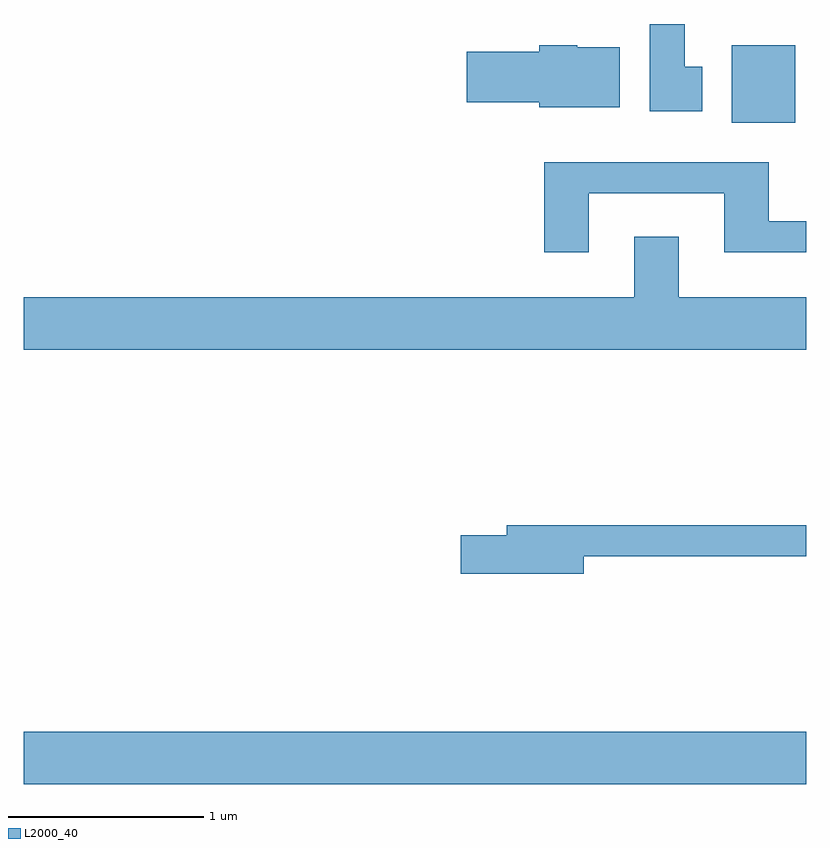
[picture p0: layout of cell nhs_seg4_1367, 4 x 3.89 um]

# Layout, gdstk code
import gdstk
lib = gdstk.Library(unit=1e-6, precision=1e-09)
def R(c, l, rs):  # rectangles x0, y0, x1, y1
    for r in rs: c.add(gdstk.rectangle(r[:2], r[2:], *l))
def P(c, l, *ps):  # polygons
    for p in ps: c.add(gdstk.Polygon(p, *l))
L2000_40 = (2000, 40)

nhs_seg4_1367 = lib.new_cell('nhs_seg4_1367')
R(nhs_seg4_1367, L2000_40, [(225.611,1268.096,229.611,1268.364), (229.231,1271.476,229.554,1271.874)])
P(nhs_seg4_1367, L2000_40, [(229.079,1271.764),(228.989,1271.764),(228.989,1271.982),(228.811,1271.982),(228.811,1271.536),(229.079,1271.536)],
  [(228.659,1271.864),(228.44,1271.864),(228.44,1271.874),(228.246,1271.874),(228.246,1271.839),(227.876,1271.839),(227.876,1271.581),(228.246,1271.581),(228.246,1271.556),(228.659,1271.556)],
  [(228.499,1271.116),(229.191,1271.116),(229.191,1270.816),(229.611,1270.816),(229.611,1270.974),(229.419,1270.974),(229.419,1271.274),(228.271,1271.274),(228.271,1270.816),(228.499,1270.816)],
  [(229.611,1270.584),(228.959,1270.584),(228.959,1270.894),(228.731,1270.894),(228.731,1270.584),(225.611,1270.584),(225.611,1270.316),(229.611,1270.316)],
  [(228.474,1269.261),(229.611,1269.261),(229.611,1269.419),(228.081,1269.419),(228.081,1269.369),(227.846,1269.369),(227.846,1269.171),(228.474,1269.171)])

lib.write_gds('nhs_seg4_1367.gds')
